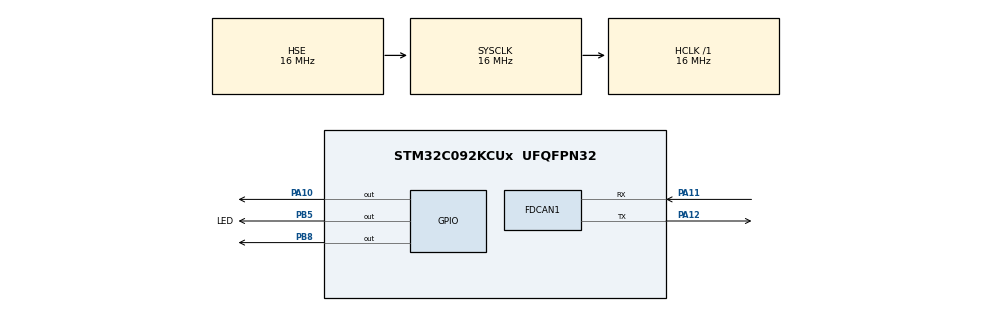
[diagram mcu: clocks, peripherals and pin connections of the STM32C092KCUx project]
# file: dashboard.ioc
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FDCAN1.AutoRetransmission=ENABLE
FDCAN1.CalculateBaudRateNominal=500000
FDCAN1.CalculateTimeBitNominal=2000
FDCAN1.CalculateTimeQuantumNominal=125.0
FDCAN1.NominalPrescaler=2
FDCAN1.NominalTimeSeg1=12
FDCAN1.NominalTimeSeg2=3
FDCAN1.StdFiltersNbr=1
Mcu.Family=STM32C0
Mcu.Name=STM32C092KCUx
Mcu.Package=UFQFPN32
NVIC.FDCAN1_IT0_IRQn=true\:0\:0\:false\:false\:true\:true\:true\:true
PA10.Signal=GPIO_Output
PA11\ [PA9].Mode=FDCAN_Activate
PA11\ [PA9].Signal=FDCAN1_RX
PA12\ [PA10].Mode=FDCAN_Activate
PA12\ [PA10].Signal=FDCAN1_TX
PA13.Mode=Serial_Wire
PA13.Signal=DEBUG_SWDIO
PA14-BOOT0.Mode=Serial_Wire
PA14-BOOT0.Signal=DEBUG_SWCLK
PB5.GPIO_Label=LED
PB5.Signal=GPIO_Output
PB8.Signal=GPIO_Output
PC14-OSCX_IN(PC14).Mode=HSE-External-Oscillator
PC14-OSCX_IN(PC14).Signal=RCC_OSCX_IN
PC15-OSCX_OUT(PC15).Mode=HSE-External-Oscillator
PC15-OSCX_OUT(PC15).Signal=RCC_OSCX_OUT
ProjectManager.HeapSize=0x0
ProjectManager.StackSize=0x400
ProjectManager.TargetToolchain=STM32CubeIDE
RCC.ADCFreq_Value=16000000
RCC.AHBFreq_Value=16000000
RCC.CortexFreq_Value=16000000
RCC.EXTERNAL_CLOCK_VALUE=12288000
RCC.FDCAN1CLockSelection=RCC_FDCAN1CLKSOURCE_HSE
RCC.HCLKFreq_Value=16000000
RCC.HSE_VALUE=16000000
RCC.HSI_VALUE=48000000
RCC.LSE_VALUE=32768
RCC.SYSCLKFreq_VALUE=16000000
RCC.SYSCLKSource=RCC_SYSCLKSOURCE_HSE
board=custom

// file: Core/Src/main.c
/* USER CODE BEGIN Header */
/**
  ******************************************************************************
  * @file           : main.c
  * @brief          : Main program body
  ******************************************************************************
  * @attention
  *
  * Copyright (c) 2026 STMicroelectronics.
  * All rights reserved.
  *
  * This software is licensed under terms that can be found in the LICENSE file
  * in the root directory of this software component.
  * If no LICENSE file comes with this software, it is provided AS-IS.
  *
  ******************************************************************************
  */
/* USER CODE END Header */
#include "main.h"
#include "fdcan.h"
#include "gpio.h"

/* USER CODE BEGIN PD */
#define CAN_ID_REQUEST        0x7F0U
#define CAN_ID_ECHO           0x7F1U
#define CAN_ID_HEARTBEAT      0x7F3U
#define CAN_STD_ID_MAX        0x7FFU
#define CAN_CLASSIC_MAX_LEN   8U
#define HEARTBEAT_PERIOD_MS   1000U
#define LED_BLINK_MS          50U
#define BYTE_MASK             0xFFU
#define BITS_PER_BYTE         8U
/* USER CODE END PD */

/* USER CODE BEGIN PV */
static volatile uint32_t appl_rxCount = 0U;
static volatile uint32_t appl_ledOffTick = 0U;
static uint32_t appl_lastHeartbeatTick = 0U;
/* USER CODE END PV */

void SystemClock_Config(void);

/* USER CODE BEGIN 0 */
/*
 * sends the CAN frame
 */
static HAL_StatusTypeDef glue_canSend(uint32_t id, const uint8_t *data, uint32_t length)
{
  FDCAN_TxHeaderTypeDef txHeader = {0};
  txHeader.Identifier = id;
  txHeader.IdType = FDCAN_STANDARD_ID;
  txHeader.TxFrameType = FDCAN_DATA_FRAME;
  txHeader.DataLength = length;
  txHeader.ErrorStateIndicator = FDCAN_ESI_ACTIVE;
  txHeader.BitRateSwitch = FDCAN_BRS_OFF;
  txHeader.FDFormat = FDCAN_CLASSIC_CAN;
  txHeader.TxEventFifoControl = FDCAN_NO_TX_EVENTS;
  txHeader.MessageMarker = 0U;
  return HAL_FDCAN_AddMessageToTxFifoQ(&hfdcan1, &txHeader, data);
}

/*
 * stores the 32-bit value in the buffer
 */
static void util_putU32(uint8_t *buffer, uint32_t value)
{
  for (uint32_t i = 0U; i < sizeof(uint32_t); i++)
  {
    buffer[i] = (uint8_t)((value >> (i * BITS_PER_BYTE)) & BYTE_MASK);
  }
}

/*
 * flashes the LED and counts the incoming frames
 */
void HAL_FDCAN_RxFifo0Callback(FDCAN_HandleTypeDef *hfdcan, uint32_t RxFifo0ITs)
{
  FDCAN_RxHeaderTypeDef rxHeader;
  uint8_t rxData[CAN_CLASSIC_MAX_LEN];

  if ((RxFifo0ITs & FDCAN_IT_RX_FIFO0_NEW_MESSAGE) == 0U)
  {
    return;
  }
  while (HAL_FDCAN_GetRxFifoFillLevel(hfdcan, FDCAN_RX_FIFO0) > 0U)
  {
    if (HAL_FDCAN_GetRxMessage(hfdcan, FDCAN_RX_FIFO0, &rxHeader, rxData) != HAL_OK)
    {
      break;
    }
    appl_rxCount++;
    HAL_GPIO_WritePin(LED_GPIO_Port, LED_Pin, GPIO_PIN_SET);
    appl_ledOffTick = HAL_GetTick() + LED_BLINK_MS;
    if (rxHeader.Identifier == CAN_ID_REQUEST)
    {
      (void)glue_canSend(CAN_ID_ECHO, rxData, rxHeader.DataLength);
    }
  }
}

/* USER CODE END 0 */

int main(void)
{

  /* MCU Configuration--------------------------------------------------------*/

  /* Reset of all peripherals, Initializes the Flash interface and the Systick. */
  HAL_Init();

  /* Configure the system clock */
  SystemClock_Config();

  /* Initialize all configured peripherals */
  MX_GPIO_Init();
  MX_FDCAN1_Init();
  /* USER CODE BEGIN 2 */
  HAL_GPIO_WritePin(GPIOA, GPIO_PIN_10, GPIO_PIN_RESET);  /* LBK low = normal mode */

  FDCAN_FilterTypeDef filter = {0};
  filter.IdType = FDCAN_STANDARD_ID;
  filter.FilterIndex = 0U;
  filter.FilterType = FDCAN_FILTER_RANGE;
  filter.FilterConfig = FDCAN_FILTER_TO_RXFIFO0;
  filter.FilterID1 = 0x000U;
  filter.FilterID2 = CAN_STD_ID_MAX;
  if (HAL_FDCAN_ConfigFilter(&hfdcan1, &filter) != HAL_OK)
  {
    Error_Handler();
  }
  if (HAL_FDCAN_ConfigGlobalFilter(&hfdcan1, FDCAN_REJECT, FDCAN_REJECT,
                                   FDCAN_REJECT_REMOTE, FDCAN_REJECT_REMOTE) != HAL_OK)
  {
    Error_Handler();
  }
  if (HAL_FDCAN_ActivateNotification(&hfdcan1, FDCAN_IT_RX_FIFO0_NEW_MESSAGE, 0U) != HAL_OK)
  {
    Error_Handler();
  }
  if (HAL_FDCAN_Start(&hfdcan1) != HAL_OK)
  {
    Error_Handler();
  }
  /* USER CODE END 2 */

  /* Infinite loop */
  while (1)
  {

    /* USER CODE BEGIN 3 */
    uint32_t now = HAL_GetTick();

    /* turn the LED off after LED_BLINK_MS */
    if ((appl_ledOffTick != 0U) && ((int32_t)(now - appl_ledOffTick) >= 0))
    {
      HAL_GPIO_WritePin(LED_GPIO_Port, LED_Pin, GPIO_PIN_RESET);
      appl_ledOffTick = 0U;
    }

    /* heartbeat: [received frames u32][uptime ms u32] */
    if ((now - appl_lastHeartbeatTick) >= HEARTBEAT_PERIOD_MS)
    {
      uint8_t heartbeat[CAN_CLASSIC_MAX_LEN];
      appl_lastHeartbeatTick = now;
      util_putU32(&heartbeat[0], appl_rxCount);
      util_putU32(&heartbeat[sizeof(uint32_t)], now);
      (void)glue_canSend(CAN_ID_HEARTBEAT, heartbeat, CAN_CLASSIC_MAX_LEN);
    }
  }
  /* USER CODE END 3 */
}

void SystemClock_Config(void)
{
  RCC_OscInitTypeDef RCC_OscInitStruct = {0};
  RCC_ClkInitTypeDef RCC_ClkInitStruct = {0};

  __HAL_FLASH_SET_LATENCY(FLASH_LATENCY_0);

  /** Initializes the RCC Oscillators according to the specified parameters
  * in the RCC_OscInitTypeDef structure.
  */
  RCC_OscInitStruct.OscillatorType = RCC_OSCILLATORTYPE_HSE;
  RCC_OscInitStruct.HSEState = RCC_HSE_ON;
  if (HAL_RCC_OscConfig(&RCC_OscInitStruct) != HAL_OK)
  {
    Error_Handler();
  }

  /** Initializes the CPU, AHB and APB buses clocks
  */
  RCC_ClkInitStruct.ClockType = RCC_CLOCKTYPE_HCLK|RCC_CLOCKTYPE_SYSCLK
                              |RCC_CLOCKTYPE_PCLK1;
  RCC_ClkInitStruct.SYSCLKSource = RCC_SYSCLKSOURCE_HSE;
  RCC_ClkInitStruct.SYSCLKDivider = RCC_SYSCLK_DIV1;
  RCC_ClkInitStruct.AHBCLKDivider = RCC_HCLK_DIV1;
  RCC_ClkInitStruct.APB1CLKDivider = RCC_APB1_DIV1;

  if (HAL_RCC_ClockConfig(&RCC_ClkInitStruct, FLASH_LATENCY_0) != HAL_OK)
  {
    Error_Handler();
  }
}

void Error_Handler(void)
{
  __disable_irq();
  while (1)
  {
  }
}
